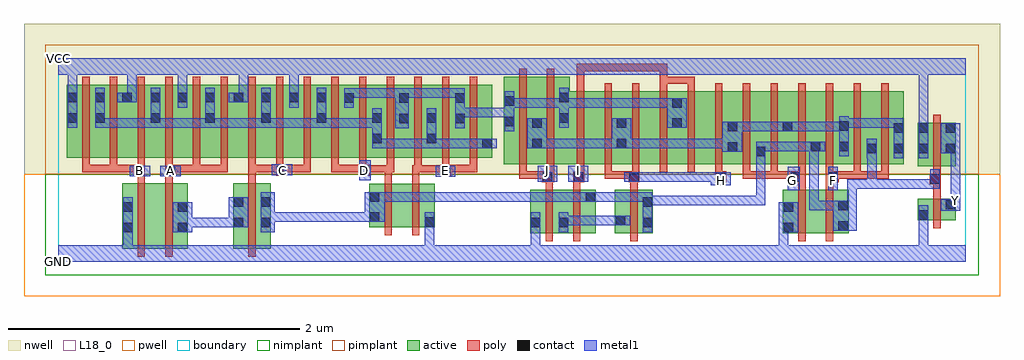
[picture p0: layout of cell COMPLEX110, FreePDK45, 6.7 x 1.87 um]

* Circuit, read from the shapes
.subckt COMPLEX110 A B C D E F G GND H I J VCC Y
M1 n1 B GND VSUBS nfet w=0.45u l=0.05u
M2 n2 A n1 VSUBS nfet w=0.45u l=0.05u
M3 n3 C n2 VSUBS nfet w=0.45u l=0.05u
M4 n4 D n3 VSUBS nfet w=0.3u l=0.05u
M5 GND E n4 VSUBS nfet w=0.3u l=0.05u
M6 n5 J GND VSUBS nfet w=0.3u l=0.05u
M7 n3 I n5 VSUBS nfet w=0.3u l=0.05u
M8 n3 H n5 VSUBS nfet w=0.3u l=0.05u
M9 n6 G GND VSUBS nfet w=0.3u l=0.05u
M10 n3 F n6 VSUBS nfet w=0.3u l=0.05u
M11 Y n3 GND VSUBS nfet w=0.15u l=0.05u
M12 n7 B VCC n8 pfet w=0.5u l=0.05u m=3
M13 VCC A n7 n8 pfet w=0.5u l=0.05u m=3
M14 n7 C VCC n8 pfet w=0.5u l=0.05u m=3
M15 n9 D n7 n8 pfet w=0.5u l=0.05u m=3
M16 n7 E n9 n8 pfet w=0.5u l=0.05u m=3
M17 n10 J n9 n8 pfet w=0.6u l=0.05u m=2
M18 n11 I n9 n8 pfet w=0.5u l=0.05u
M19 n10 H n11 n8 pfet w=0.5u l=0.05u
M20 n12 H n10 n8 pfet w=0.5u l=0.05u
M21 n9 I n12 n8 pfet w=0.5u l=0.05u
M22 n13 I n9 n8 pfet w=0.5u l=0.05u
M23 n10 H n13 n8 pfet w=0.5u l=0.05u
M24 n3 G n10 n8 pfet w=0.5u l=0.05u m=3
M25 n10 F n3 n8 pfet w=0.5u l=0.05u m=3
M26 Y n3 VCC n8 pfet w=0.3u l=0.05u
.ends

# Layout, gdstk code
import gdstk
lib = gdstk.Library(unit=1e-6, precision=1e-09)
def R(c, l, rs):  # rectangles x0, y0, x1, y1
    for r in rs: c.add(gdstk.rectangle(r[:2], r[2:], *l))
def A(c, l, x, y, w, h, nx, ny, dx, dy):  # array of equal rectangles
    R(c, l, [(x+i*dx, y+j*dy, x+i*dx+w, y+j*dy+h) for i in range(nx) for j in range(ny)])
active = (1, 0)
pwell = (2, 0)
nwell = (3, 0)
nimplant = (4, 0)
pimplant = (5, 0)
poly = (9, 0)
contact = (10, 0)
metal1 = (11, 0)
L18_0 = (18, 0)
boundary = (235, 0)

complex110 = lib.new_cell('COMPLEX110')
A(complex110, active, 3.68, 0.672, 0.225, 0.5, 3, 1, 0.38, 0)
A(complex110, active, 1.2, 0.717, 0.265, 0.5, 5, 1, 0.19, 0)
R(complex110, active, [(0.44,0.092,0.665,0.542), (0.44,0.092,0.515,0.542), (0.665,0.092,0.89,0.542), (1.2,0.092,1.46,0.542), (0.815,0.097,0.89,0.542), (1.2,0.097,1.275,0.542), (1.385,0.097,1.46,0.542), (3.24,0.197,3.315,0.497), (3.24,0.197,3.505,0.497), (3.43,0.197,3.69,0.497), (3.822,0.197,4.082,0.497), (4.975,0.197,5.2,0.497), (4.975,0.197,5.05,0.497), (5.2,0.197,5.425,0.497), (3.43,0.2,3.505,0.397), (3.822,0.2,3.897,0.497), (5.35,0.2,5.425,0.497), (4.007,0.207,4.082,0.497), (2.135,0.237,2.36,0.537), (2.135,0.237,2.21,0.537), (2.36,0.237,2.585,0.537), (2.51,0.237,2.585,0.537), (3.615,0.247,3.69,0.497), (5.902,0.285,6.162,0.435), (5.902,0.285,5.977,0.435), (6.087,0.332,6.162,0.435), (5.902,0.657,5.977,0.957), (5.902,0.657,6.162,0.957), (6.087,0.657,6.162,0.957), (3.06,0.672,3.325,1.272), (3.06,0.672,3.135,1.2), (3.25,0.672,3.325,1.07), (3.25,0.672,3.51,1.272), (3.435,0.672,3.68,1.172), (3.83,0.672,4.06,1.172), (4.21,0.672,4.285,1.157), (4.21,0.672,4.44,1.172), (4.59,0.672,4.665,1.157), (4.59,0.672,4.86,1.172), (4.785,0.672,5.045,1.172), (4.785,0.672,4.86,1.07), (4.97,0.672,5.235,1.172), (5.16,0.672,5.235,1.07), (5.16,0.672,5.43,1.172), (5.355,0.672,5.43,1.157), (5.355,0.672,5.62,1.172), (5.545,0.672,5.805,1.172), (5.545,0.672,5.62,1.07), (5.73,0.672,5.805,1.157), (3.83,0.682,3.905,1.07), (0.06,0.717,0.325,1.217), (0.06,0.717,0.135,1.217), (0.25,0.717,0.51,1.217), (0.25,0.717,0.325,1.2), (0.435,0.717,0.705,1.217), (0.63,0.717,0.89,1.217), (0.63,0.717,0.705,1.2), (0.815,0.717,1.08,1.217), (1.005,0.717,1.275,1.217), (1.005,0.717,1.08,1.2), (1.2,0.717,1.275,1.217), (1.39,0.717,1.465,1.2), (1.58,0.717,1.655,1.217), (1.77,0.717,1.845,1.2), (1.96,0.717,2.035,1.2), (2.15,0.717,2.41,1.217), (2.15,0.717,2.225,1.07), (2.335,0.717,2.6,1.217), (2.335,0.717,2.41,1.2), (2.525,0.717,2.795,1.217), (2.525,0.717,2.6,1.07), (2.72,0.717,2.98,1.217), (2.72,0.717,2.795,1.2), (2.905,0.717,2.98,1.07), (4.97,0.737,5.045,1.157), (3.435,0.782,3.51,1.2), (0.435,0.807,0.51,1.217), (0.815,0.807,0.89,1.217)])
R(complex110, pwell, [(-0.235,-0.235,6.465,0.602)])
R(complex110, nwell, [(-0.235,0.602,6.465,1.635)])
R(complex110, nimplant, [(-0.09,-0.09,6.32,0.602)])
R(complex110, pimplant, [(-0.09,0.602,6.32,1.49)])
A(complex110, poly, 3.56, 0.572, 0.05, 0.095, 3, 1, 0.19, 0)
A(complex110, poly, 4.51, 0.572, 0.05, 0.095, 7, 1, 0.19, 0)
A(complex110, poly, 0.165, 0.617, 0.05, 0.095, 11, 1, 0.19, 0)
A(complex110, poly, 0.925, 0.617, 0.05, 0.05, 4, 1, 0.19, 0)
A(complex110, poly, 3.56, 0.617, 0.05, 0.61, 12, 1, 0.19, 0)
A(complex110, poly, 0.165, 0.662, 0.05, 0.61, 15, 1, 0.19, 0)
R(complex110, poly, [(0.545,0.037,0.595,0.597), (0.735,0.037,0.785,0.597), (1.305,0.037,1.355,0.597), (3.345,0.142,3.395,0.552), (3.535,0.142,3.585,0.552), (3.927,0.142,3.977,0.552), (5.08,0.142,5.13,0.552), (5.27,0.142,5.32,0.552), (2.24,0.182,2.29,0.592), (2.43,0.182,2.48,0.592), (6.007,0.23,6.057,0.49), (6.007,0.44,6.057,0.582), (3.345,0.502,3.395,0.597), (3.535,0.502,3.585,0.597), (3.927,0.502,3.977,0.597), (5.08,0.502,5.13,0.597), (5.27,0.502,5.32,0.597), (5.982,0.532,6.057,0.607), (2.24,0.542,2.29,0.665), (2.43,0.542,2.48,0.665), (0.545,0.547,0.595,0.642), (0.735,0.547,0.785,0.642), (1.305,0.547,1.355,0.667), (3.322,0.547,3.405,0.622), (3.535,0.547,3.61,0.622), (3.915,0.547,3.99,0.622), (4.51,0.547,4.585,0.622), (5.022,0.547,5.13,0.622), (5.27,0.547,5.357,0.622), (6.007,0.557,6.057,0.652), (3.165,0.572,3.215,0.667), (3.165,0.572,3.215,0.622), (3.165,0.572,3.215,0.622), (3.165,0.572,3.215,0.622), (3.165,0.572,3.372,0.622), (3.355,0.572,3.405,0.667), (3.75,0.572,3.8,0.622), (3.75,0.572,3.965,0.622), (3.915,0.572,3.965,0.622), (3.915,0.572,3.965,0.622), (4.7,0.572,4.75,0.622), (4.7,0.572,4.75,0.622), (4.7,0.572,4.75,0.622), (4.7,0.572,4.94,0.622), (4.89,0.572,4.94,0.622), (4.89,0.572,4.94,0.622), (4.89,0.572,4.94,0.622), (4.89,0.572,5.072,0.622), (5.307,0.572,5.357,0.622), (5.307,0.572,5.357,0.622), (5.307,0.572,5.51,0.622), (5.46,0.572,5.51,0.622), (5.46,0.572,5.7,0.622), (5.65,0.572,5.7,0.622), (5.65,0.572,5.7,0.622), (5.65,0.572,5.7,0.622), (0.52,0.592,0.595,0.667), (0.735,0.592,0.81,0.667), (1.495,0.592,1.57,0.667), (2.065,0.592,2.14,0.667), (2.622,0.592,2.697,0.667), (6.007,0.602,6.057,1.012), (2.09,0.615,2.14,0.665), (2.09,0.615,2.14,0.665), (2.09,0.615,2.29,0.665), (2.24,0.615,2.305,0.665), (2.255,0.615,2.305,0.712), (2.43,0.615,2.495,0.665), (2.445,0.615,2.495,0.665), (2.445,0.615,2.495,0.665), (2.445,0.615,2.672,0.665), (2.445,0.615,2.495,0.712), (0.165,0.617,0.215,0.667), (0.165,0.617,0.215,0.667), (0.165,0.617,0.215,0.667), (0.165,0.617,0.405,0.667), (0.355,0.617,0.405,0.667), (0.355,0.617,0.57,0.667), (0.52,0.617,0.57,0.667), (0.52,0.617,0.57,0.667), (0.76,0.617,0.81,0.667), (0.76,0.617,0.81,0.667), (0.76,0.617,0.975,0.667), (0.925,0.617,0.975,0.667), (0.925,0.617,0.975,0.667), (0.925,0.617,1.165,0.667), (1.305,0.617,1.545,0.667), (1.495,0.617,1.545,0.667), (1.52,0.617,1.735,0.667), (1.685,0.617,1.735,0.667), (1.685,0.617,1.735,0.667), (1.685,0.617,1.735,0.667), (1.875,0.617,1.925,0.667), (1.875,0.617,1.925,0.667), (1.875,0.617,1.925,0.667), (1.875,0.617,2.115,0.667), (2.635,0.617,2.685,0.712), (2.647,0.617,2.875,0.667), (2.825,0.617,2.875,0.712), (2.825,0.617,2.875,0.667), (2.825,0.617,2.875,0.667), (2.825,0.617,2.875,0.667), (3.165,0.617,3.215,1.327), (3.355,0.617,3.405,1.327), (3.56,1.177,3.61,1.36), (4.13,1.177,4.18,1.272), (4.32,1.177,4.37,1.272), (4.13,1.222,4.37,1.272), (4.13,1.222,4.18,1.36), (4.32,1.222,4.37,1.272), (4.32,1.222,4.37,1.272), (4.32,1.222,4.37,1.272), (3.56,1.31,3.61,1.36), (3.56,1.31,3.61,1.36), (3.56,1.31,3.61,1.36), (3.56,1.31,3.8,1.36), (3.75,1.31,3.8,1.36), (3.75,1.31,3.8,1.36), (3.75,1.31,3.8,1.36), (3.75,1.31,3.932,1.36), (3.882,1.31,3.932,1.36), (3.882,1.31,4.18,1.36), (4.13,1.31,4.18,1.36), (4.13,1.31,4.18,1.36)])
A(complex110, contact, 1.395, 0.955, 0.065, 0.065, 3, 1, 0.38, 0)
A(complex110, contact, 1.205, 1.095, 0.065, 0.065, 4, 1, 0.19, 0)
R(complex110, contact, [(0.445,0.205,0.51,0.27), (0.82,0.205,0.885,0.27), (4.98,0.205,5.045,0.27), (5.355,0.215,5.42,0.28), (1.205,0.24,1.27,0.305), (1.39,0.24,1.455,0.305), (3.245,0.24,3.31,0.305), (3.435,0.24,3.5,0.305), (4.012,0.24,4.077,0.305), (2.515,0.242,2.58,0.307), (3.827,0.252,3.892,0.317), (2.14,0.275,2.205,0.34), (5.907,0.29,5.972,0.355), (0.445,0.345,0.51,0.41), (0.82,0.345,0.885,0.41), (4.98,0.345,5.045,0.41), (5.355,0.355,5.42,0.42), (6.092,0.362,6.157,0.427), (1.205,0.38,1.27,0.445), (1.39,0.38,1.455,0.445), (4.012,0.38,4.077,0.445), (3.62,0.412,3.685,0.477), (2.14,0.415,2.205,0.48), (5.987,0.537,6.052,0.602), (3.327,0.552,3.392,0.617), (3.54,0.552,3.605,0.617), (3.92,0.552,3.985,0.617), (4.515,0.552,4.58,0.617), (5.027,0.552,5.092,0.617), (5.287,0.552,5.352,0.617), (0.525,0.597,0.59,0.662), (0.74,0.597,0.805,0.662), (1.5,0.597,1.565,0.662), (2.07,0.597,2.135,0.662), (2.627,0.597,2.692,0.662), (4.79,0.725,4.855,0.79), (5.55,0.747,5.615,0.812), (5.735,0.747,5.8,0.812), (5.907,0.747,5.972,0.812), (6.092,0.747,6.157,0.812), (4.595,0.757,4.66,0.822), (5.165,0.76,5.23,0.825), (5.36,0.76,5.425,0.825), (2.91,0.78,2.975,0.845), (3.255,0.782,3.32,0.847), (3.835,0.782,3.9,0.847), (2.155,0.815,2.22,0.88), (2.53,0.815,2.595,0.88), (5.735,0.887,5.8,0.952), (5.907,0.887,5.972,0.952), (6.092,0.887,6.157,0.952), (4.595,0.897,4.66,0.962), (4.975,0.897,5.04,0.962), (5.36,0.9,5.425,0.965), (4.215,0.92,4.28,0.985), (3.255,0.922,3.32,0.987), (3.835,0.922,3.9,0.987), (3.065,0.932,3.13,0.997), (2.34,0.952,2.405,1.017), (2.725,0.952,2.79,1.017), (0.065,0.955,0.13,1.02), (0.255,0.955,0.32,1.02), (0.635,0.955,0.7,1.02), (1.01,0.955,1.075,1.02), (2.53,0.955,2.595,1.02), (3.44,0.955,3.505,1.02), (4.215,1.06,4.28,1.125), (3.065,1.072,3.13,1.137), (1.965,1.092,2.03,1.157), (2.34,1.092,2.405,1.157), (2.725,1.092,2.79,1.157), (0.065,1.095,0.13,1.16), (0.255,1.095,0.32,1.16), (0.44,1.095,0.505,1.16), (0.635,1.095,0.7,1.16), (0.82,1.095,0.885,1.16), (1.01,1.095,1.075,1.16), (3.44,1.095,3.505,1.16)])
A(complex110, metal1, 2.175, 0.415, 0.202, 0.065, 3, 1, 0.275, 0)
A(complex110, metal1, 2.312, 0.415, 0.203, 0.065, 3, 1, 0.275, 0)
R(complex110, metal1, [(0,0,6.23,0.115), (0.445,0.05,0.51,0.235), (2.515,0.05,2.58,0.272), (3.245,0.05,3.31,0.115), (3.245,0.05,3.31,0.115), (3.245,0.05,3.31,0.27), (4.945,0.05,5.01,0.115), (4.945,0.05,5.01,0.115), (4.945,0.05,5.01,0.27), (5.907,0.05,5.972,0.28), (0.445,0.17,0.51,0.445), (0.785,0.205,0.92,0.41), (1.39,0.205,1.487,0.48), (3.245,0.205,3.31,0.34), (3.435,0.205,3.5,0.34), (4.012,0.205,4.077,0.48), (4.945,0.205,5.08,0.41), (2.515,0.207,2.58,0.272), (2.515,0.207,2.58,0.272), (2.515,0.207,2.58,0.342), (5.32,0.215,5.482,0.42), (5.907,0.215,5.972,0.28), (5.907,0.215,5.972,0.28), (5.907,0.215,5.972,0.28), (5.907,0.215,5.972,0.312), (0.855,0.24,1.075,0.305), (1.01,0.24,1.075,0.305), (1.01,0.24,1.075,0.305), (1.01,0.24,1.075,0.305), (1.01,0.24,1.212,0.305), (1.147,0.24,1.212,0.305), (1.147,0.24,1.235,0.305), (1.17,0.24,1.305,0.445), (5.907,0.247,5.972,0.39), (3.435,0.252,3.5,0.317), (3.435,0.252,3.5,0.317), (3.435,0.252,3.72,0.317), (3.655,0.252,3.72,0.317), (3.655,0.252,3.72,0.317), (3.655,0.252,3.72,0.317), (3.655,0.252,3.857,0.317), (3.792,0.252,3.927,0.317), (1.422,0.275,1.487,0.34), (1.422,0.275,1.487,0.34), (1.422,0.275,1.625,0.34), (1.56,0.275,1.625,0.34), (1.56,0.275,1.625,0.34), (1.56,0.275,1.625,0.34), (1.56,0.275,1.84,0.34), (1.775,0.275,1.84,0.34), (1.775,0.275,1.84,0.34), (1.775,0.275,1.84,0.34), (1.775,0.275,1.977,0.34), (1.912,0.275,1.977,0.34), (1.912,0.275,2.17,0.34), (2.105,0.275,2.24,0.48), (2.105,0.275,2.17,0.34), (2.105,0.275,2.17,0.34), (6.057,0.352,6.192,0.43), (6.127,0.352,6.192,0.487), (5.157,0.355,5.222,0.42), (5.157,0.355,5.385,0.42), (5.157,0.355,5.222,0.425), (5.32,0.355,5.385,0.42), (5.32,0.355,5.385,0.42), (5.417,0.355,5.482,0.567), (5.157,0.36,5.222,0.425), (5.157,0.36,5.222,0.825), (6.127,0.365,6.192,0.43), (4.012,0.39,4.245,0.455), (4.18,0.39,4.245,0.455), (4.18,0.39,4.245,0.455), (4.18,0.39,4.245,0.455), (4.18,0.39,4.407,0.455), (4.342,0.39,4.407,0.455), (4.342,0.39,4.407,0.455), (4.342,0.39,4.407,0.455), (4.342,0.39,4.625,0.455), (4.56,0.39,4.625,0.455), (4.56,0.39,4.625,0.455), (4.56,0.39,4.625,0.455), (4.56,0.39,4.762,0.455), (4.697,0.39,4.762,0.455), (4.697,0.39,4.855,0.455), (4.79,0.39,4.855,0.455), (4.79,0.39,4.855,0.755), (3.427,0.412,3.65,0.477), (3.427,0.412,3.492,0.48), (3.585,0.412,3.72,0.477), (3.655,0.412,3.72,0.477), (3.655,0.412,3.72,0.477), (3.655,0.412,3.935,0.477), (3.87,0.412,3.935,0.477), (3.87,0.412,4.077,0.477), (4.012,0.412,4.077,0.477), (4.012,0.412,4.077,0.477), (2.175,0.415,2.24,0.48), (2.175,0.415,2.24,0.48), (2.312,0.415,2.377,0.48), (2.312,0.415,2.377,0.48), (2.312,0.415,2.377,0.48), (2.45,0.415,2.515,0.48), (2.587,0.415,2.652,0.48), (2.587,0.415,2.652,0.48), (2.587,0.415,2.652,0.48), (2.725,0.415,2.79,0.48), (2.725,0.415,2.79,0.48), (2.725,0.415,2.79,0.48), (2.725,0.415,2.79,0.48), (2.725,0.415,2.79,0.48), (2.862,0.415,2.927,0.48), (3,0.415,3.065,0.48), (3,0.415,3.065,0.48), (3,0.415,3.065,0.48), (3,0.415,3.355,0.48), (3.29,0.415,3.355,0.48), (3.29,0.415,3.355,0.48), (3.29,0.415,3.355,0.48), (3.29,0.415,3.492,0.48), (3.427,0.415,3.492,0.48), (3.427,0.415,3.492,0.48), (6.127,0.422,6.192,0.812), (5.007,0.492,5.092,0.652), (5.287,0.492,5.352,0.652), (5.417,0.502,5.482,0.567), (5.417,0.502,5.62,0.567), (5.555,0.502,5.62,0.567), (5.555,0.502,5.62,0.567), (5.555,0.502,5.62,0.567), (5.555,0.502,5.62,0.777), (5.555,0.502,5.777,0.567), (5.712,0.502,5.777,0.567), (5.712,0.502,5.915,0.567), (5.85,0.502,5.915,0.567), (5.85,0.502,5.915,0.567), (5.85,0.502,5.915,0.567), (5.85,0.502,6.052,0.567), (5.987,0.502,6.052,0.637), (4.48,0.527,4.617,0.617), (3.292,0.552,3.427,0.662), (3.502,0.552,3.64,0.662), (3.885,0.552,4.02,0.617), (3.955,0.552,4.107,0.617), (4.042,0.552,4.107,0.617), (4.042,0.552,4.245,0.617), (4.18,0.552,4.245,0.617), (4.18,0.552,4.245,0.617), (4.18,0.552,4.245,0.617), (4.18,0.552,4.407,0.617), (4.342,0.552,4.407,0.617), (4.342,0.552,4.407,0.617), (4.342,0.552,4.407,0.617), (4.342,0.552,4.545,0.617), (2.067,0.562,2.145,0.7), (2.592,0.585,2.727,0.662), (0.49,0.587,0.63,0.662), (0.702,0.587,0.842,0.662), (1.465,0.597,1.607,0.67), (4.79,0.69,4.855,0.755), (4.79,0.69,4.855,0.755), (4.79,0.69,4.855,0.825), (5.55,0.712,5.62,0.847), (5.735,0.712,5.8,0.987), (5.907,0.712,5.972,0.987), (5.36,0.725,5.425,1), (6.057,0.747,6.192,0.952), (4.56,0.757,4.695,0.962), (4.79,0.76,4.9,0.825), (4.835,0.76,4.9,0.825), (4.835,0.76,5.057,0.825), (4.992,0.76,5.057,0.825), (4.992,0.76,5.057,0.825), (4.992,0.76,5.057,0.825), (4.992,0.76,5.195,0.825), (5.13,0.76,5.265,0.825), (2.155,0.78,2.22,1.055), (2.155,0.78,2.377,0.845), (2.312,0.78,2.377,0.845), (2.312,0.78,2.377,0.845), (2.312,0.78,2.377,0.845), (2.312,0.78,2.515,0.845), (2.45,0.78,2.515,0.845), (2.45,0.78,2.595,0.845), (2.53,0.78,2.595,1.055), (2.53,0.78,2.652,0.845), (2.587,0.78,2.652,0.845), (2.587,0.78,2.79,0.845), (2.725,0.78,2.79,0.845), (2.725,0.78,2.79,0.845), (2.725,0.78,2.79,0.845), (2.725,0.78,2.94,0.845), (2.875,0.78,3.01,0.845), (3.22,0.782,3.355,0.987), (3.29,0.782,3.355,0.847), (3.29,0.782,3.355,0.847), (3.29,0.782,3.492,0.847), (3.427,0.782,3.492,0.847), (3.427,0.782,3.492,0.847), (3.427,0.782,3.492,0.847), (3.427,0.782,3.72,0.847), (3.655,0.782,3.72,0.847), (3.655,0.782,3.72,0.847), (3.655,0.782,3.72,0.847), (3.655,0.782,3.865,0.847), (3.8,0.782,3.935,0.987), (3.87,0.782,4.072,0.847), (4.007,0.782,4.072,0.847), (4.007,0.782,4.072,0.847), (4.007,0.782,4.072,0.847), (4.007,0.782,4.072,0.847), (4.007,0.782,4.072,0.847), (4.007,0.782,4.245,0.847), (4.18,0.782,4.245,0.847), (4.18,0.782,4.245,0.847), (4.18,0.782,4.245,0.847), (4.18,0.782,4.382,0.847), (4.317,0.782,4.382,0.847), (4.317,0.782,4.382,0.847), (4.317,0.782,4.382,0.847), (4.317,0.782,4.625,0.847), (4.56,0.782,4.625,0.847), (4.56,0.782,4.625,0.847), (3.065,0.897,3.13,1.172), (4.63,0.897,4.762,0.962), (4.697,0.897,4.762,0.962), (4.697,0.897,4.832,0.962), (4.767,0.897,4.832,0.962), (4.767,0.897,4.9,0.962), (4.835,0.897,4.9,0.962), (4.835,0.897,5.005,0.962), (4.94,0.897,5.075,0.962), (4.992,0.897,5.057,0.962), (4.992,0.897,5.057,0.962), (4.992,0.897,5.057,0.962), (4.992,0.897,5.057,0.962), (4.992,0.897,5.247,0.962), (5.182,0.897,5.247,0.962), (5.182,0.897,5.247,0.962), (5.182,0.897,5.247,0.962), (5.182,0.897,5.425,0.962), (2.312,0.917,2.405,1.192), (2.725,0.917,2.79,1.192), (0.065,0.92,0.13,1.195), (0.255,0.92,0.32,0.985), (0.255,0.92,0.32,0.985), (0.255,0.92,0.457,0.985), (0.255,0.92,0.32,1.195), (0.392,0.92,0.457,0.985), (0.392,0.92,0.457,0.985), (0.392,0.92,0.457,0.985), (0.392,0.92,0.7,0.985), (0.635,0.92,0.7,0.985), (0.635,0.92,0.7,0.985), (0.635,0.92,0.837,0.985), (0.635,0.92,0.7,1.195), (0.772,0.92,0.837,0.985), (0.772,0.92,1.075,0.985), (1.01,0.92,1.075,0.985), (1.01,0.92,1.075,0.985), (1.01,0.92,1.212,0.985), (1.01,0.92,1.075,1.195), (1.147,0.92,1.212,0.985), (1.147,0.92,1.212,0.985), (1.147,0.92,1.212,0.985), (1.147,0.92,1.35,0.985), (1.285,0.92,1.35,0.985), (1.285,0.92,1.46,0.985), (1.395,0.92,1.46,1.195), (1.395,0.92,1.487,0.985), (1.422,0.92,1.487,0.985), (1.422,0.92,1.702,0.985), (1.637,0.92,1.702,0.985), (1.637,0.92,1.702,0.985), (1.637,0.92,1.702,0.985), (1.637,0.92,1.84,0.985), (1.775,0.92,1.84,1.195), (1.775,0.92,1.995,0.985), (1.93,0.92,1.995,0.985), (1.93,0.92,1.995,0.985), (1.93,0.92,1.995,0.985), (1.93,0.92,2.22,0.985), (2.155,0.92,2.22,0.985), (2.155,0.92,2.22,0.985), (3.44,0.92,3.505,1.195), (4.18,0.92,4.315,1.125), (5.36,0.922,5.64,0.987), (5.575,0.922,5.64,0.987), (5.575,0.922,5.64,0.987), (5.575,0.922,5.64,0.987), (5.575,0.922,5.777,0.987), (5.712,0.922,5.777,0.987), (5.712,0.922,5.8,0.987), (5.907,0.922,5.972,0.987), (5.907,0.922,5.972,0.987), (5.907,0.922,5.972,0.987), (5.907,0.922,5.972,0.987), (5.907,0.922,5.972,1.35), (2.725,0.992,2.79,1.057), (2.725,0.992,2.79,1.057), (2.725,0.992,2.927,1.057), (2.862,0.992,2.927,1.057), (2.862,0.992,3.13,1.057), (1.965,1.057,2.03,1.192), (0.82,1.06,0.885,1.195), (1.585,1.06,1.65,1.195), (3.065,1.06,3.13,1.125), (3.065,1.06,3.13,1.125), (3.065,1.06,3.355,1.125), (3.29,1.06,3.355,1.125), (3.29,1.06,3.355,1.125), (3.29,1.06,3.355,1.125), (3.29,1.06,3.505,1.125), (3.44,1.06,3.505,1.125), (3.44,1.06,3.505,1.125), (3.44,1.06,3.72,1.125), (3.655,1.06,3.72,1.125), (3.655,1.06,3.72,1.125), (3.655,1.06,3.72,1.125), (3.655,1.06,3.935,1.125), (3.87,1.06,3.935,1.125), (3.87,1.06,3.935,1.125), (3.87,1.06,3.935,1.125), (3.87,1.06,4.107,1.125), (4.042,1.06,4.107,1.125), (4.042,1.06,4.245,1.125), (4.18,1.06,4.245,1.125), (4.18,1.06,4.245,1.125), (0.405,1.095,0.54,1.16), (0.475,1.095,0.54,1.16), (0.475,1.095,0.54,1.16), (0.475,1.095,0.54,1.35), (1.17,1.095,1.305,1.16), (1.24,1.095,1.305,1.16), (1.24,1.095,1.305,1.16), (1.24,1.095,1.305,1.35), (1.965,1.127,2.167,1.192), (2.102,1.127,2.167,1.192), (2.102,1.127,2.167,1.192), (2.102,1.127,2.167,1.192), (2.102,1.127,2.377,1.192), (2.312,1.127,2.377,1.192), (2.312,1.127,2.377,1.192), (2.34,1.127,2.515,1.192), (2.45,1.127,2.515,1.192), (2.45,1.127,2.652,1.192), (2.587,1.127,2.652,1.192), (2.587,1.127,2.652,1.192), (2.587,1.127,2.652,1.192), (2.587,1.127,2.79,1.192), (0.065,1.13,0.13,1.35), (0.82,1.13,0.885,1.35), (1.585,1.13,1.65,1.195), (1.585,1.13,1.65,1.195), (1.585,1.13,1.65,1.35), (0,1.285,6.23,1.4), (0.065,1.285,0.13,1.35), (0.065,1.285,0.13,1.35), (0.82,1.285,0.885,1.35), (0.82,1.285,0.885,1.35)])
A(complex110, L18_0, 1.507, 0.597, 0.065, 0.065, 3, 1, 0.56, 0)
R(complex110, L18_0, [(0,0,6.23,0.115), (0.445,0.05,0.51,0.235), (2.515,0.05,2.58,0.272), (3.245,0.05,3.31,0.115), (3.245,0.05,3.31,0.115), (3.245,0.05,3.31,0.27), (4.945,0.05,5.01,0.115), (4.945,0.05,5.01,0.115), (4.945,0.05,5.01,0.27), (5.907,0.05,5.972,0.28), (0.445,0.17,0.51,0.445), (3.245,0.205,3.31,0.34), (4.945,0.205,5.08,0.41), (2.515,0.207,2.58,0.272), (2.515,0.207,2.58,0.272), (2.515,0.207,2.58,0.342), (5.907,0.215,5.972,0.28), (5.907,0.215,5.972,0.28), (5.907,0.215,5.972,0.28), (5.907,0.215,5.972,0.312), (5.907,0.247,5.972,0.39), (6.057,0.352,6.192,0.43), (6.127,0.352,6.192,0.487), (6.127,0.365,6.192,0.43), (6.127,0.387,6.192,0.452), (6.127,0.422,6.192,0.812), (5.007,0.492,5.092,0.652), (5.287,0.492,5.352,0.652), (4.48,0.527,4.617,0.617), (4.517,0.527,4.582,0.592), (5.007,0.527,5.072,0.592), (5.287,0.527,5.352,0.592), (3.292,0.552,3.427,0.662), (3.502,0.552,3.64,0.662), (3.885,0.552,4.02,0.617), (3.955,0.552,4.107,0.617), (4.042,0.552,4.107,0.617), (4.042,0.552,4.245,0.617), (4.18,0.552,4.245,0.617), (4.18,0.552,4.245,0.617), (4.18,0.552,4.245,0.617), (4.18,0.552,4.407,0.617), (4.342,0.552,4.407,0.617), (4.342,0.552,4.407,0.617), (4.342,0.552,4.407,0.617), (4.342,0.552,4.545,0.617), (2.067,0.562,2.145,0.7), (2.592,0.585,2.727,0.662), (0.49,0.587,0.63,0.662), (0.702,0.587,0.842,0.662), (0.527,0.597,0.592,0.662), (0.737,0.597,0.802,0.662), (1.465,0.597,1.607,0.67), (3.327,0.597,3.392,0.662), (3.537,0.597,3.602,0.662), (5.907,0.712,5.972,0.987), (6.057,0.747,6.192,0.952), (0.065,0.92,0.13,1.195), (5.907,0.922,5.972,0.987), (5.907,0.922,5.972,0.987), (5.907,0.922,5.972,0.987), (5.907,0.922,5.972,0.987), (5.907,0.922,5.972,1.35), (0.82,1.06,0.885,1.195), (1.585,1.06,1.65,1.195), (0.405,1.095,0.54,1.16), (0.475,1.095,0.54,1.16), (0.475,1.095,0.54,1.16), (0.475,1.095,0.54,1.35), (1.17,1.095,1.305,1.16), (1.24,1.095,1.305,1.16), (1.24,1.095,1.305,1.16), (1.24,1.095,1.305,1.35), (0.065,1.13,0.13,1.35), (0.82,1.13,0.885,1.35), (1.585,1.13,1.65,1.195), (1.585,1.13,1.65,1.195), (1.585,1.13,1.65,1.35), (0,1.285,6.23,1.4), (0.065,1.285,0.13,1.35), (0.065,1.285,0.13,1.35), (0.82,1.285,0.885,1.35), (0.82,1.285,0.885,1.35)])
R(complex110, boundary, [(0,0,6.23,1.4)])
complex110.add(gdstk.Label('A', (0.77,0.63), layer=11, texttype=0))
complex110.add(gdstk.Label('B', (0.56,0.63), layer=11, texttype=0))
complex110.add(gdstk.Label('C', (1.54,0.63), layer=11, texttype=0))
complex110.add(gdstk.Label('D', (2.1,0.63), layer=11, texttype=0))
complex110.add(gdstk.Label('E', (2.66,0.63), layer=11, texttype=0))
complex110.add(gdstk.Label('F', (5.32,0.56), layer=11, texttype=0))
complex110.add(gdstk.Label('G', (5.04,0.56), layer=11, texttype=0))
complex110.add(gdstk.Label('H', (4.55,0.56), layer=11, texttype=0))
complex110.add(gdstk.Label('I', (3.57,0.63), layer=11, texttype=0))
complex110.add(gdstk.Label('J', (3.36,0.63), layer=11, texttype=0))
complex110.add(gdstk.Label('Y', (6.16,0.42), layer=11, texttype=0))
complex110.add(gdstk.Label('VCC', (0,1.4), layer=11, texttype=0))
complex110.add(gdstk.Label('GND', (0,0), layer=11, texttype=0))

lib.write_gds('COMPLEX110.gds')
